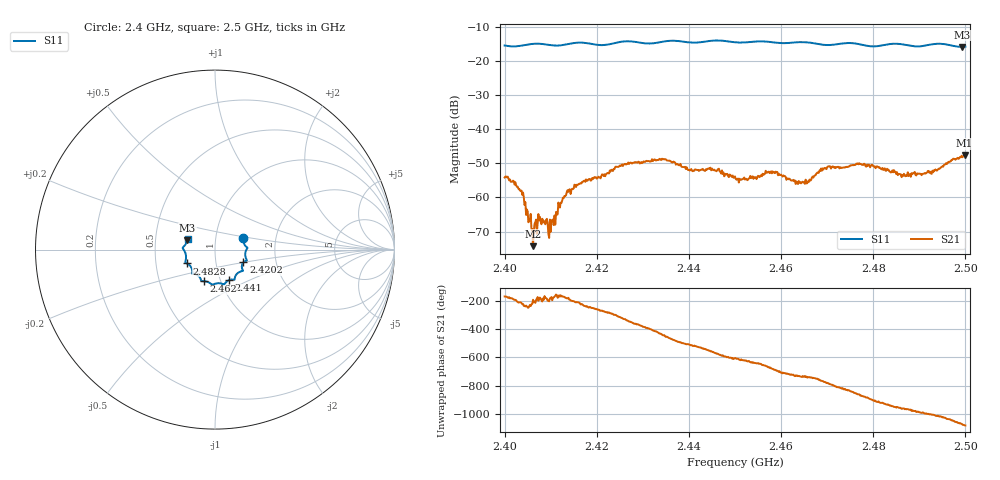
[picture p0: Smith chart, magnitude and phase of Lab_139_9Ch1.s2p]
# Hz S RI R 50
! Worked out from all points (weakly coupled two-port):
!   601 points, 2.4 GHz to 2.5 GHz, reference 50 ohm
!   highest |S21| = -47.68 dB at 2.4998 GHz (marker M1); lowest = -74.3 dB at 2.4062 GHz (marker M2)
!   lowest |S11| = -15.8 dB at 2.4993 GHz (marker M3), VSWR 1.39, Z = 36.5 + j3.84 ohm
!   |S11| at or under -10 dB: start of sweep to end of sweep
!   S12 and S22 are empty: the file has one direction only
!   S11 on the Smith chart (normalised r, x): 2.4 GHz: 1.36, +0.18; 2.4202 GHz: 1.36, -0.20; 2.441 GHz: 1.10, -0.39; 2.462 GHz: 0.84, -0.30; 2.4828 GHz: 0.72, -0.11; 2.5 GHz: 0.73, +0.09
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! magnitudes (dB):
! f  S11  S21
! 2.4 GHz  -15.4  -54.1
! 2.4037 GHz  -15.4  -58.0
! 2.4062 GHz  -14.9  -74.3
! 2.4078 GHz  -14.9  -67.1
! 2.41 GHz  -15.3  -70.1
! 2.4132 GHz  -15.1  -59.6
! 2.4167 GHz  -14.5  -55.9
! 2.4202 GHz  -15.2  -54.4
! 2.4263 GHz  -14.2  -50.4
! 2.4333 GHz  -14.5  -49.0
! 2.441 GHz  -14.5  -52.1
! 2.45 GHz  -14.4  -53.8
! 2.4587 GHz  -14.5  -52.9
! 2.462 GHz  -14.6  -54.8
! 2.4667 GHz  -14.6  -54.2
! 2.4707 GHz  -15.2  -50.9
! 2.4828 GHz  -15.1  -52.2
! 2.4833 GHz  -15.0  -51.9
! 2.491 GHz  -15.5  -53.0
! 2.4993 GHz  -15.8  -48.2
! 2.4998 GHz  -15.7  -47.7
! 2.5 GHz  -15.7  -47.8
